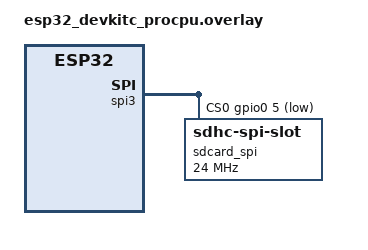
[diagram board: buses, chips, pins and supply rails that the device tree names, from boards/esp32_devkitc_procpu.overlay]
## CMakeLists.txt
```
cmake_minimum_required(VERSION 3.20.0)

find_package(Zephyr REQUIRED HINTS $ENV{ZEPHYR_BASE})
project(hello_tsetlin)

target_include_directories(app PUBLIC ${CMAKE_CURRENT_SOURCE_DIR}/../../)
target_include_directories(app PUBLIC ${CMAKE_CURRENT_SOURCE_DIR}/../../tsetlin)
target_include_directories(app PUBLIC ${CMAKE_CURRENT_SOURCE_DIR}/../../protobuf)
target_include_directories(app PUBLIC ${CMAKE_CURRENT_SOURCE_DIR}/../../random)
target_include_directories(app PUBLIC ${CMAKE_CURRENT_SOURCE_DIR}/../../mnist)
target_include_directories(app PUBLIC ${CMAKE_CURRENT_SOURCE_DIR}/../../utils)

file(GLOB app_sources src/* "../../tsetlin/*" "../../protobuf/*" "../../protobuf-c/*" "../../mnist/*" "../../random/*")
target_sources(app PRIVATE ${app_sources})
```

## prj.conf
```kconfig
CONFIG_MAIN_STACK_SIZE=2048
CONFIG_REQUIRES_FLOAT_PRINTF=y
CONFIG_HW_STACK_PROTECTION=y
CONFIG_GPIO=y
CONFIG_LOG=y
CONFIG_CONSOLE=y
CONFIG_UART_CONSOLE=y
CONFIG_SPI_SHELL=y
CONFIG_FILE_SYSTEM=y
CONFIG_FILE_SYSTEM_MKFS=y
CONFIG_FAT_FILESYSTEM_ELM=y
CONFIG_FS_FATFS_LFN=y
CONFIG_SHELL=y
CONFIG_ZVFS_OPEN_MAX=16
CONFIG_FS_FATFS_NUM_FILES=16
CONFIG_FILE_SYSTEM_SHELL=y
CONFIG_FILE_SYSTEM_SHELL_LS_SIZE=y

# CONFIG_ENTROPY_GENERATOR=y
# CONFIG_CSPRNG_NEEDED=y
# CONFIG_TEST_RANDOM_GENERATOR=y

CONFIG_POSIX_API=y

CONFIG_NEWLIB_LIBC=y
CONFIG_DISK_ACCESS=y

# CONFIG_HEAP_MEM_POOL_SIZE=262144
```

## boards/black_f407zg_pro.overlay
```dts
#include <st/f4/stm32f407v(e-g)tx-pinctrl.dtsi>

/ {
    aliases {
		sdhc0 = &sdmmc1;
	};

	chosen {
		zephyr,console = &usart1;
		zephyr,shell-uart = &usart1;
	};
};

&usart1 {
	pinctrl-0 = <&usart1_tx_pa9 &usart1_rx_pa10>;
	pinctrl-names = "default";
	current-speed = <115200>;
	status = "okay";
};

&sdmmc1 {
	pinctrl-0 = <&sdio_d0_pc8 &sdio_d1_pc9
		         &sdio_d2_pc10 &sdio_d3_pc11
		         &sdio_ck_pc12 &sdio_cmd_pd2>;
	pinctrl-names = "default";
	cd-gpios = <&gpioa 14 (GPIO_ACTIVE_LOW | GPIO_PULL_UP)>;
	disk-name = "SD";
	status = "okay";
};
```

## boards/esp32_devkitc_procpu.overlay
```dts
&spi3 {
    status = "okay";

     /* ESP32 typically uses HSPI = spi2, VSPI = spi3 */
    pinctrl-0 = <&spim3_default>;  /* Must include CS signal */
    pinctrl-names = "default";
    cs-gpios = <&gpio0 5 GPIO_ACTIVE_LOW>;

	sdcard_spi: sdhc@0 {
		compatible = "zephyr,sdhc-spi-slot";
		reg = <0>;
		status = "okay";
		spi-max-frequency = <24000000>;
		mmc {
			compatible = "zephyr,sdmmc-disk";
            disk-name = "SD";
			status = "okay";
		};
	};
};
```

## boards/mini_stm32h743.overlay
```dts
&sdmmc1 {
	pinctrl-0 = <&sdmmc1_d0_pc8 &sdmmc1_d1_pc9
		     &sdmmc1_d2_pc10 &sdmmc1_d3_pc11
		     &sdmmc1_ck_pc12 &sdmmc1_cmd_pd2>;
	pinctrl-names = "default";
	cd-gpios = <&gpiod 4 (GPIO_ACTIVE_HIGH | GPIO_PULL_UP)>;
	disk-name = "SD";
	status = "okay";
};
```

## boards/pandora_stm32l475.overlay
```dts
&i2c3 {
    compatible = "st,stm32-i2c-v2";
    pinctrl-0 = <&i2c3_scl_pc0 &i2c3_sda_pc1>;
    pinctrl-names = "default";
    clock-frequency = <I2C_BITRATE_STANDARD>;
    status = "okay";
};

&spi1 {
  	status = "okay";
  	pinctrl-0 = <&spi1_sck_pa5 &spi1_miso_pa6 &spi1_mosi_pa7>;
    pinctrl-names = "default";
    cs-gpios = <&gpioc 3 GPIO_ACTIVE_LOW>;

	sdhc0: sdhc@0 {
		compatible = "zephyr,sdhc-spi-slot";
		reg = <0>;
		status = "okay";
		spi-max-frequency = <24000000>;
		mmc {
			compatible = "zephyr,sdmmc-disk";
            disk-name = "SD";
			status = "okay";
		};
	};
};

&spi3 {
    status = "okay";

    pinctrl-0 = <&spi3_sck_pb3 &spi3_miso_pb4 &spi3_mosi_pb5>;
    pinctrl-names = "default";

    cs-gpios = <&gpiod 7 GPIO_ACTIVE_LOW>;
};

&w25q128jv {
	partitions {
		compatible = "fixed-partitions";
		#address-cells = <1>;
		#size-cells = <1>;

		external_partition: partition@0 {
			label = "storage";
			reg = <0x00000000 DT_SIZE_M(16)>;
		};
	};
};
```

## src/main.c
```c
#include <zephyr/device.h>
#include <zephyr/kernel.h>

#include <mnist.h>
#include <tsetlin.h>

#include "sdcard.h"

LOG_MODULE_REGISTER(main);
static const char *TAG = "main";

void print_progress(const char *label, int percent) {
    const int bar_width = 40;
    int filled = percent * bar_width / 100;

    printf("%s [", label);
    for (int i = 0; i < bar_width; i++) {
        if (i < filled) printf("=");
        else printf(" ");
    }
    printf("] %3d%%\r", percent);  // stay on same line
    fflush(stdout);
}

int main(void)
{
    k_sleep(K_MSEC(5000));

    int res = sdcard_init();
    
    if (res != FS_RET_OK) {
        printk("Error mounting disk.\n");
        return -1;
    }

    LOGI(TAG, "Disk mounted.\n");

    // Get training set info
    int rows, cols;
    uint32_t train_img_count = mnist_image_info(DISK_MOUNT_PT"/train-images-idx3-ubyte", &rows, &cols);
    LOGI(TAG, "MNIST training set: %d images of size %dx%d", train_img_count, rows, cols);

    uint32_t train_label_count = mnist_label_info(DISK_MOUNT_PT"/train-labels-idx1-ubyte");
    LOGI(TAG, "MNIST training set: %d labels", train_label_count);
    if (train_img_count != train_label_count) {
        LOGE(TAG, "Image count and label count do not match!");
        return -1;
    }

    // Get test set info
    uint32_t test_img_count = mnist_image_info(DISK_MOUNT_PT"/t10k-images-idx3-ubyte", &rows, &cols);
    LOGI(TAG, "MNIST test set: %d images of size %dx%d", test_img_count, rows, cols);

    uint32_t test_label_count = mnist_label_info(DISK_MOUNT_PT"/t10k-labels-idx1-ubyte");
    LOGI(TAG, "MNIST test set: %d labels", test_label_count);
    if (test_img_count != test_label_count) {
        LOGE(TAG, "Image count and label count do not match!");
        return -1;
    }

    if (train_img_count == 0 || test_img_count == 0) {
        LOGE(TAG, "No images found in dataset!");
        return -1;
    }

    // Print mnist train image
    int img_index = fast_rand() % train_img_count;
    printf("Loading and printing training image %d\n", img_index);

    FILE* f_train_imgs = fopen(DISK_MOUNT_PT"/train-images-idx3-ubyte", "rb");
    if (!f_train_imgs) {
        LOGE(TAG, "Failed to open file %s", DISK_MOUNT_PT"/train-images-idx3-ubyte");
        return -1;
    }

    FILE *f_train_labels = fopen(DISK_MOUNT_PT"/train-labels-idx1-ubyte", "rb");
    if (!f_train_labels) {
        LOGE(TAG, "Failed to open file %s", DISK_MOUNT_PT"/train-labels-idx1-ubyte");
        return -1;
    }

    uint8_t* train_img = mnist_load_image(f_train_imgs, img_index, rows, cols);
    if (train_img) {
        mnist_print_img(train_img);
        int8_t train_label = mnist_load_label(f_train_labels, img_index);
        printf("Training image label: %d\n", train_label);
        free(train_img);
    } 
    else {
        LOGE(TAG, "Failed to load train images");
        return -1;
    }

    // Print mnist test image
    img_index = fast_rand() % test_img_count;
    printf("Loading and printing testing image %d\n", img_index);

    FILE* f_test_imgs = fopen(DISK_MOUNT_PT"/t10k-images-idx3-ubyte", "rb");
    if (!f_test_imgs) {
        LOGE(TAG, "Failed to open file %s", DISK_MOUNT_PT"/t10k-images-idx3-ubyte");
        return -1;
    }

    FILE* f_test_labels = fopen(DISK_MOUNT_PT"/t10k-labels-idx1-ubyte", "rb");
    if (!f_test_labels) {
        LOGE(TAG, "Failed to open file %s", DISK_MOUNT_PT"/t10k-labels-idx1-ubyte");
        return -1;
    }

    uint8_t* test_img = mnist_load_image(f_test_imgs, img_index, rows, cols);
    if (test_img) {
        mnist_print_img(test_img);
        int8_t test_label = mnist_load_label(f_test_labels, img_index);
        printf("Testing image label: %d\n", test_label);
        free(test_img);
    }
    else {
        LOGE(TAG, "Failed to load test images");
        return -1;
    }

    // Load Tsetlin model from file
    size_t size = 0;
    uint8_t* data = tsetlin_read_file(DISK_MOUNT_PT"/tsetlin_model.cpb", &size);
    if (!data) {
        LOGE(TAG, "Failed to read file");
        return -1;
    }

    LOGI(TAG, "Model loaded (%d Bytes)", size);

    Tsetlin* model = tsetlin__unpack(NULL, size, data);
    free(data);

    if (!model) {
        LOGE(TAG, "Failed to unpack protobuf");
        return -1;
    }

    LOGI(TAG, "n_class   = %u", model->n_class);
    LOGI(TAG, "n_feature = %u", model->n_feature);
    LOGI(TAG, "n_clause  = %u", model->n_clause);
    LOGI(TAG, "n_state   = %u", model->n_state);
    LOGI(TAG, "model_type = %u", model->model_type);

    // Evaluate model on a random test image
    img_index = fast_rand() % test_img_count;

    uint8_t* img = mnist_load_image(f_test_imgs, img_index, rows, cols);
    if (!img) {
        LOGE(TAG, "Failed to load test image");
        tsetlin__free_unpacked(model, NULL);
        return -1;
    }

    int8_t label = mnist_load_label(f_test_labels, img_index);
    if (label < 0) {
        LOGE(TAG, "Failed to load test label");
        free(img);
        tsetlin__free_unpacked(model, NULL);
        return -1;
    }

    LOGI(TAG, "Evaluating model on test image %d (label %d)", img_index, label);
    mnist_print_img(img);

    int32_t votes[model->n_class];
    uint8_t predicted_class = 0;

    // Booleanize image using threshold 75
    // mnist_booleanize_img(img, rows * cols, 75);

    // Booleanize image using 8-bit representation
    uint8_t* bool_img = mnist_booleanize_img_n_bit(img, rows, cols, 8);
    free(img);

    // Evaluate
    tsetlin_evaluate(model, bool_img, votes, &predicted_class);

    LOGI(TAG, "Predicted class: %d with %d votes\n", predicted_class, votes[predicted_class]);
    for (size_t i = 0; i < model->n_class; i++)
    {
        LOGI(TAG, "Class %d: %d votes", i, votes[i]);
    }

    free(bool_img);

    // Evaluate on the entire test set
    int correct = 0;

    long total_utility_time = 0;
    long total_calc_time = 0;

    for (uint32_t i = 0; i < test_img_count; i++)
    {
        uint32_t start_utility = k_uptime_get_32();

        if( i == 0) {
            // Skip the header
            fseek(f_test_imgs, 16, SEEK_SET);
            fseek(f_test_labels, 8, SEEK_SET);
        }

        uint8_t* img = mnist_load_next_image(f_test_imgs, i, rows, cols);
        if (!img) {
            LOGE(TAG, "Failed to load test image %d", i);
            continue;
        }

        int8_t label = mnist_load_next_label(f_test_labels, i);
        if (label < 0) {
            LOGE(TAG, "Failed to load test label %d", i);
            free(img);
            continue;
        }

        total_utility_time += (k_uptime_get_32() - start_utility);

        uint32_t start = k_uptime_get_32();

        // Booleanize image using threshold 75
        // mnist_booleanize_img(img, rows * cols, 75);

        // Booleanize image using 8-bit representation
        uint8_t* bool_img = mnist_booleanize_img_n_bit(img, rows, cols, 8);
        free(img);

        tsetlin_evaluate(model, bool_img, votes, &predicted_class);
        if (predicted_class == label) {
            correct++;
        }

        total_calc_time += (k_uptime_get_32() - start);

        free(bool_img);

        // Print progress every 1000 images
        if ((i + 1) % 1000 == 0) {
            char message[32];
            snprintf(message, sizeof(message), "Testing %d/%d", i + 1, test_img_count);
            print_progress(message, (i + 1) * 100 / test_img_count);
        }
    }
    LOGI(TAG, "");

    double tks = test_img_count / (double)(k_ticks_to_ms_floor32(total_calc_time)) * 1000;
    printf("[TM] Achieved images/s: %f\n", tks);

    double uts = test_img_count / (double)(k_ticks_to_ms_floor32(total_utility_time)) * 1000;
    printf("[UM] Achieved images/s: %f\n", uts);

    printf("Accuracy on test set (%d): %.2f%% \n", test_img_count, (double)correct / test_img_count * 100);

    // Test the random number generator speed
    const uint32_t N_RAND = 10;
    for (uint32_t i = 0; i < N_RAND; i++)
    {
        float r = random_float_01();
        printf("Random float %d: %f\n", i, (double) r);
    }

    // Train the model on the training set
    uint32_t N_EPOCHS = 10;
    uint32_t T = 10;
    float s = 7.5f;
    
    for (size_t i = 0; i < N_EPOCHS; i++)
    {
        for (uint32_t j = 0; j < train_img_count; j++)
        {
            if( j == 0) {
                fseek(f_train_imgs, 16, SEEK_SET);
                fseek(f_train_labels, 8, SEEK_SET);
            }

            uint8_t* X_img = mnist_load_next_image(f_train_imgs, j, rows, cols);
            if (!X_img) {
                LOGE(TAG, "Failed to load train image %d", j);
                continue;
            }

            int8_t y_target = mnist_load_next_label(f_train_labels, j);
            if (y_target < 0) {
                LOGE(TAG, "Failed to load train label %d", j);
                continue;
            }

            // Booleanize image using threshold 75
            // mnist_booleanize_img(X_img, rows * cols, 75);

            // Booleanize image using 8-bit representation
            uint8_t* bool_img = mnist_booleanize_img_n_bit(X_img, rows, cols, 8);
            free(X_img);

            tsetlin_step(model, bool_img, y_target, T, s);
            free(bool_img);

            // Print progress every 1000 images
            if ((j + 1) % 1000 == 0) {
                char message[32];
                snprintf(message, sizeof(message), "Epoch %d: Processed %d/%d", i + 1, j + 1, train_img_count);
                print_progress(message, (j + 1) * 100 / train_img_count);
            }
        }

        LOGI(TAG, "\n");

        // Evaluate on test set after each epoch
        correct = 0;
        for (uint32_t j = 0; j < test_img_count; j++)
        {
            if( j == 0) {
                // Skip the header
                fseek(f_test_imgs, 16, SEEK_SET);
                fseek(f_test_labels, 8, SEEK_SET);
            }

            uint8_t* img = mnist_load_next_image(f_test_imgs, j, rows, cols);
            if (!img) {
                LOGE(TAG, "Failed to load test image %d", j);
                continue;
            }

            int8_t label = mnist_load_next_label(f_test_labels, j);
            if (label < 0) {
                LOGE(TAG, "Failed to load test label %d", j);
                free(img);
                continue;
            }

            // Booleanize image using threshold 75
            // mnist_booleanize_img(img, rows * cols, 75);

            // Booleanize image using 8-bit representation
            uint8_t* bool_img = mnist_booleanize_img_n_bit(img, rows, cols, 8);
            free(img);

            tsetlin_evaluate(model, bool_img, votes, &predicted_class);
            if (predicted_class == label) {
                correct++;
            }

            free(bool_img);

            // Print progress every 1000 images
            if ((j + 1) % 1000 == 0) {
                char message[32];
                snprintf(message, sizeof(message), "Testing %d/%d", j + 1, test_img_count);
                print_progress(message, (j + 1) * 100 / test_img_count);
                // printf("Processed %d/%d test images\n", j + 1, test_img_count);
            }
        }
        printf("\n");
        printf("Testing Accuracy after epoch %d: %.2f%%\n", i + 1, (double)correct / test_img_count * 100);
    }

    // free protobuf
    tsetlin__free_unpacked(model, NULL);

    fclose(f_train_imgs);
    fclose(f_test_imgs);

    fclose(f_train_labels);
    fclose(f_test_labels);

    sdcard_deinit();

    while (1) {
        k_sleep(K_MSEC(1000));
    }

    return 0;
}
```

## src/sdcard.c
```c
#include "sdcard.h"

/* mounting info */
static FATFS fat_fs;
static struct fs_mount_t mp = {
    .type = FS_FATFS,
    .fs_data = &fat_fs,
};

int sdcard_init() {
    const char *disk_mount_pt = DISK_MOUNT_PT;
    mp.mnt_point = disk_mount_pt;

    return fs_mount(&mp);   
}

int sdcard_deinit() {
    return fs_unmount(&mp);
}
```

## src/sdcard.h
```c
#ifndef __SDCARD_H__
#define __SDCARD_H__

#include <zephyr/fs/fs.h>

#if defined(CONFIG_FAT_FILESYSTEM_ELM)
    #define FS_RET_OK FR_OK
#else
    #define FS_RET_OK 0
#endif

#include <ff.h>

#define DISK_DRIVE_NAME "SD"
#define DISK_MOUNT_PT "/"DISK_DRIVE_NAME":"

int sdcard_init();
int sdcard_deinit();

#endif /* __SDCARD_H__ */
```
